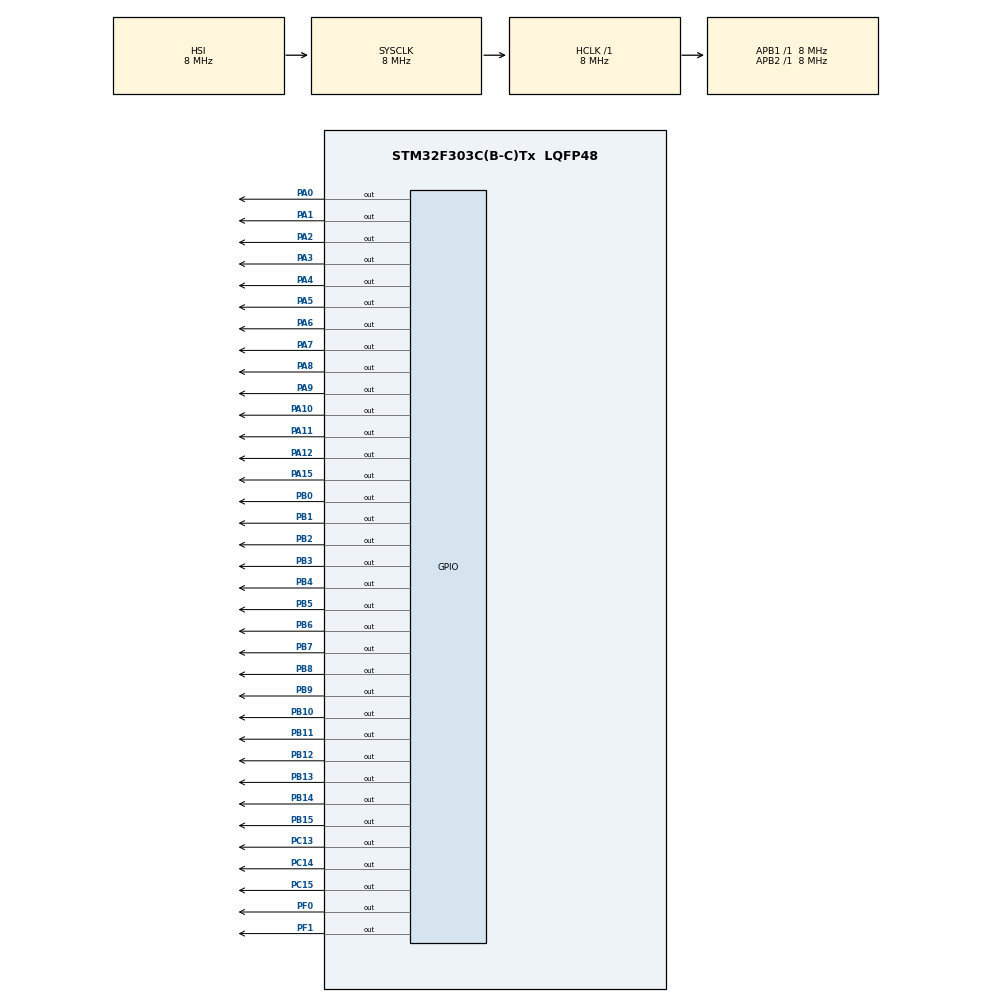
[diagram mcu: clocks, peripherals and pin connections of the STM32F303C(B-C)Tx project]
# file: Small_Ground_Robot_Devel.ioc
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Mcu.Family=STM32F3
Mcu.Name=STM32F303C(B-C)Tx
Mcu.Package=LQFP48
NVIC.PriorityGroup=NVIC_PRIORITYGROUP_4
PA0.Signal=GPIO_Output
PA1.Signal=GPIO_Output
PA10.Signal=GPIO_Output
PA11.Signal=GPIO_Output
PA12.Signal=GPIO_Output
PA13.Mode=Serial_Wire
PA13.Signal=SYS_JTMS-SWDIO
PA14.Mode=Serial_Wire
PA14.Signal=SYS_JTCK-SWCLK
PA15.Signal=GPIO_Output
PA2.Signal=GPIO_Output
PA3.Signal=GPIO_Output
PA4.Signal=GPIO_Output
PA5.Signal=GPIO_Output
PA6.Signal=GPIO_Output
PA7.Signal=GPIO_Output
PA8.Signal=GPIO_Output
PA9.Signal=GPIO_Output
PB0.Signal=GPIO_Output
PB1.Signal=GPIO_Output
PB10.Signal=GPIO_Output
PB11.Signal=GPIO_Output
PB12.Signal=GPIO_Output
PB13.Signal=GPIO_Output
PB14.Signal=GPIO_Output
PB15.Signal=GPIO_Output
PB2.Signal=GPIO_Output
PB3.Signal=GPIO_Output
PB4.Signal=GPIO_Output
PB5.Signal=GPIO_Output
PB6.Signal=GPIO_Output
PB7.Signal=GPIO_Output
PB8.Signal=GPIO_Output
PB9.Signal=GPIO_Output
PC13.Signal=GPIO_Output
PC14-OSC32_IN.Signal=GPIO_Output
PC15-OSC32_OUT.Signal=GPIO_Output
PF0-OSC_IN.Signal=GPIO_Output
PF1-OSC_OUT.Signal=GPIO_Output
ProjectManager.HeapSize=0x200
ProjectManager.StackSize=0x400
ProjectManager.TargetToolchain=MDK-ARM V5
RCC.AHBFreq_Value=8000000
RCC.APB1Freq_Value=8000000
RCC.APB2Freq_Value=8000000
RCC.CortexFreq_Value=8000000
RCC.HSE_VALUE=8000000
RCC.HSI_VALUE=8000000
RCC.LSE_VALUE=32768
RCC.SYSCLKFreq_VALUE=8000000
board=Small_Ground_Robot_Devel

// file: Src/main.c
/**
  ******************************************************************************
  * @file           : main.c
  * @brief          : Main program body
  ******************************************************************************
  ** This notice applies to any and all portions of this file
  * that are not between comment pairs USER CODE BEGIN and
  * USER CODE END. Other portions of this file, whether
  * inserted by the user or by software development tools
  * are owned by their respective copyright owners.
  *
  * COPYRIGHT(c) 2018 STMicroelectronics
  *
  * Redistribution and use in source and binary forms, with or without modification,
  * are permitted provided that the following conditions are met:
  *   1. Redistributions of source code must retain the above copyright notice,
  *      this list of conditions and the following disclaimer.
  *   2. Redistributions in binary form must reproduce the above copyright notice,
  *      this list of conditions and the following disclaimer in the documentation
  *      and/or other materials provided with the distribution.
  *   3. Neither the name of STMicroelectronics nor the names of its contributors
  *      may be used to endorse or promote products derived from this software
  *      without specific prior written permission.
  *
  * THIS SOFTWARE IS PROVIDED BY THE COPYRIGHT HOLDERS AND CONTRIBUTORS "AS IS"
  * AND ANY EXPRESS OR IMPLIED WARRANTIES, INCLUDING, BUT NOT LIMITED TO, THE
  * IMPLIED WARRANTIES OF MERCHANTABILITY AND FITNESS FOR A PARTICULAR PURPOSE ARE
  * DISCLAIMED. IN NO EVENT SHALL THE COPYRIGHT HOLDER OR CONTRIBUTORS BE LIABLE
  * FOR ANY DIRECT, INDIRECT, INCIDENTAL, SPECIAL, EXEMPLARY, OR CONSEQUENTIAL
  * DAMAGES (INCLUDING, BUT NOT LIMITED TO, PROCUREMENT OF SUBSTITUTE GOODS OR
  * SERVICES; LOSS OF USE, DATA, OR PROFITS; OR BUSINESS INTERRUPTION) HOWEVER
  * CAUSED AND ON ANY THEORY OF LIABILITY, WHETHER IN CONTRACT, STRICT LIABILITY,
  * OR TORT (INCLUDING NEGLIGENCE OR OTHERWISE) ARISING IN ANY WAY OUT OF THE USE
  * OF THIS SOFTWARE, EVEN IF ADVISED OF THE POSSIBILITY OF SUCH DAMAGE.
  *
  ******************************************************************************
  */
#include "main.h"
#include "stm32f3xx_hal.h"

/* USER CODE BEGIN PV */
/* Private variables ---------------------------------------------------------*/

/* USER CODE END PV */

void SystemClock_Config(void);
static void MX_GPIO_Init(void);

/* USER CODE BEGIN PFP */
/* Private function prototypes -----------------------------------------------*/

/* USER CODE END PFP */

int main(void)
{

  /* MCU Configuration----------------------------------------------------------*/

  /* Reset of all peripherals, Initializes the Flash interface and the Systick. */
  HAL_Init();

  /* Configure the system clock */
  SystemClock_Config();

  /* Initialize all configured peripherals */
  MX_GPIO_Init();

  /* Infinite loop */
  /* USER CODE BEGIN WHILE */
  while (1)
  {
	HAL_Delay(800);
		HAL_GPIO_TogglePin(GPIOA, GPIO_PIN_0);
	HAL_GPIO_TogglePin(GPIOA, GPIO_PIN_1);
	HAL_GPIO_TogglePin(GPIOA, GPIO_PIN_2);
	HAL_GPIO_TogglePin(GPIOA, GPIO_PIN_3);
	HAL_GPIO_TogglePin(GPIOA, GPIO_PIN_4);
	HAL_GPIO_TogglePin(GPIOA, GPIO_PIN_5);
	HAL_GPIO_TogglePin(GPIOA, GPIO_PIN_6);
	HAL_GPIO_TogglePin(GPIOA, GPIO_PIN_8);
	HAL_GPIO_TogglePin(GPIOA, GPIO_PIN_9);
	HAL_GPIO_TogglePin(GPIOA, GPIO_PIN_10);
	HAL_GPIO_TogglePin(GPIOA, GPIO_PIN_11);
	HAL_GPIO_TogglePin(GPIOA, GPIO_PIN_12);
	HAL_GPIO_TogglePin(GPIOA, GPIO_PIN_15);

	HAL_GPIO_TogglePin(GPIOB, GPIO_PIN_0);
	HAL_GPIO_TogglePin(GPIOB, GPIO_PIN_1);
	HAL_GPIO_TogglePin(GPIOB, GPIO_PIN_2);
	HAL_GPIO_TogglePin(GPIOB, GPIO_PIN_3);
	HAL_GPIO_TogglePin(GPIOB, GPIO_PIN_4);
	HAL_GPIO_TogglePin(GPIOB, GPIO_PIN_5);
	HAL_GPIO_TogglePin(GPIOB, GPIO_PIN_6);
	HAL_GPIO_TogglePin(GPIOB, GPIO_PIN_8);
	HAL_GPIO_TogglePin(GPIOB, GPIO_PIN_9);
	HAL_GPIO_TogglePin(GPIOB, GPIO_PIN_10);
	HAL_GPIO_TogglePin(GPIOB, GPIO_PIN_11);

	HAL_GPIO_TogglePin(GPIOC, GPIO_PIN_13);
	HAL_GPIO_TogglePin(GPIOC, GPIO_PIN_14);
	HAL_GPIO_TogglePin(GPIOC, GPIO_PIN_15);

	HAL_GPIO_TogglePin(GPIOF, GPIO_PIN_0);
	HAL_GPIO_TogglePin(GPIOF, GPIO_PIN_1);

  /* USER CODE END WHILE */

  }

}

void SystemClock_Config(void)
{

  RCC_OscInitTypeDef RCC_OscInitStruct;
  RCC_ClkInitTypeDef RCC_ClkInitStruct;

    /**Initializes the CPU, AHB and APB busses clocks
    */
  RCC_OscInitStruct.OscillatorType = RCC_OSCILLATORTYPE_HSI;
  RCC_OscInitStruct.HSIState = RCC_HSI_ON;
  RCC_OscInitStruct.HSICalibrationValue = 16;
  RCC_OscInitStruct.PLL.PLLState = RCC_PLL_NONE;
  if (HAL_RCC_OscConfig(&RCC_OscInitStruct) != HAL_OK)
  {
    _Error_Handler(__FILE__, __LINE__);
  }

    /**Initializes the CPU, AHB and APB busses clocks
    */
  RCC_ClkInitStruct.ClockType = RCC_CLOCKTYPE_HCLK|RCC_CLOCKTYPE_SYSCLK
                              |RCC_CLOCKTYPE_PCLK1|RCC_CLOCKTYPE_PCLK2;
  RCC_ClkInitStruct.SYSCLKSource = RCC_SYSCLKSOURCE_HSI;
  RCC_ClkInitStruct.AHBCLKDivider = RCC_SYSCLK_DIV1;
  RCC_ClkInitStruct.APB1CLKDivider = RCC_HCLK_DIV1;
  RCC_ClkInitStruct.APB2CLKDivider = RCC_HCLK_DIV1;

  if (HAL_RCC_ClockConfig(&RCC_ClkInitStruct, FLASH_LATENCY_0) != HAL_OK)
  {
    _Error_Handler(__FILE__, __LINE__);
  }

    /**Configure the Systick interrupt time
    */
  HAL_SYSTICK_Config(HAL_RCC_GetHCLKFreq()/1000);

    /**Configure the Systick
    */
  HAL_SYSTICK_CLKSourceConfig(SYSTICK_CLKSOURCE_HCLK);

  /* SysTick_IRQn interrupt configuration */
  HAL_NVIC_SetPriority(SysTick_IRQn, 0, 0);
}

/** Configure pins as
        * Analog
        * Input
        * Output
        * EVENT_OUT
        * EXTI
*/
static void MX_GPIO_Init(void)
{

  GPIO_InitTypeDef GPIO_InitStruct;

  /* GPIO Ports Clock Enable */
  __HAL_RCC_GPIOC_CLK_ENABLE();
  __HAL_RCC_GPIOF_CLK_ENABLE();
  __HAL_RCC_GPIOA_CLK_ENABLE();
  __HAL_RCC_GPIOB_CLK_ENABLE();

  /*Configure GPIO pin Output Level */
  HAL_GPIO_WritePin(GPIOC, GPIO_PIN_13|GPIO_PIN_14|GPIO_PIN_15, GPIO_PIN_RESET);

  /*Configure GPIO pin Output Level */
  HAL_GPIO_WritePin(GPIOF, GPIO_PIN_0|GPIO_PIN_1, GPIO_PIN_RESET);

  /*Configure GPIO pin Output Level */
  HAL_GPIO_WritePin(GPIOA, GPIO_PIN_0|GPIO_PIN_1|GPIO_PIN_2|GPIO_PIN_3
                          |GPIO_PIN_4|GPIO_PIN_5|GPIO_PIN_6|GPIO_PIN_7
                          |GPIO_PIN_8|GPIO_PIN_9|GPIO_PIN_10|GPIO_PIN_11
                          |GPIO_PIN_12|GPIO_PIN_15, GPIO_PIN_RESET);

  /*Configure GPIO pin Output Level */
  HAL_GPIO_WritePin(GPIOB, GPIO_PIN_0|GPIO_PIN_1|GPIO_PIN_2|GPIO_PIN_10
                          |GPIO_PIN_11|GPIO_PIN_12|GPIO_PIN_13|GPIO_PIN_14
                          |GPIO_PIN_15|GPIO_PIN_3|GPIO_PIN_4|GPIO_PIN_5
                          |GPIO_PIN_6|GPIO_PIN_7|GPIO_PIN_8|GPIO_PIN_9, GPIO_PIN_RESET);

  /*Configure GPIO pins : PC13 PC14 PC15 */
  GPIO_InitStruct.Pin = GPIO_PIN_13|GPIO_PIN_14|GPIO_PIN_15;
  GPIO_InitStruct.Mode = GPIO_MODE_OUTPUT_PP;
  GPIO_InitStruct.Pull = GPIO_NOPULL;
  GPIO_InitStruct.Speed = GPIO_SPEED_FREQ_LOW;
  HAL_GPIO_Init(GPIOC, &GPIO_InitStruct);

  /*Configure GPIO pins : PF0 PF1 */
  GPIO_InitStruct.Pin = GPIO_PIN_0|GPIO_PIN_1;
  GPIO_InitStruct.Mode = GPIO_MODE_OUTPUT_PP;
  GPIO_InitStruct.Pull = GPIO_NOPULL;
  GPIO_InitStruct.Speed = GPIO_SPEED_FREQ_LOW;
  HAL_GPIO_Init(GPIOF, &GPIO_InitStruct);

  /*Configure GPIO pins : PA0 PA1 PA2 PA3
                           PA4 PA5 PA6 PA7
                           PA8 PA9 PA10 PA11
                           PA12 PA15 */
  GPIO_InitStruct.Pin = GPIO_PIN_0|GPIO_PIN_1|GPIO_PIN_2|GPIO_PIN_3
                          |GPIO_PIN_4|GPIO_PIN_5|GPIO_PIN_6|GPIO_PIN_7
                          |GPIO_PIN_8|GPIO_PIN_9|GPIO_PIN_10|GPIO_PIN_11
                          |GPIO_PIN_12|GPIO_PIN_15;
  GPIO_InitStruct.Mode = GPIO_MODE_OUTPUT_PP;
  GPIO_InitStruct.Pull = GPIO_NOPULL;
  GPIO_InitStruct.Speed = GPIO_SPEED_FREQ_LOW;
  HAL_GPIO_Init(GPIOA, &GPIO_InitStruct);

  /*Configure GPIO pins : PB0 PB1 PB2 PB10
                           PB11 PB12 PB13 PB14
                           PB15 PB3 PB4 PB5
                           PB6 PB7 PB8 PB9 */
  GPIO_InitStruct.Pin = GPIO_PIN_0|GPIO_PIN_1|GPIO_PIN_2|GPIO_PIN_10
                          |GPIO_PIN_11|GPIO_PIN_12|GPIO_PIN_13|GPIO_PIN_14
                          |GPIO_PIN_15|GPIO_PIN_3|GPIO_PIN_4|GPIO_PIN_5
                          |GPIO_PIN_6|GPIO_PIN_7|GPIO_PIN_8|GPIO_PIN_9;
  GPIO_InitStruct.Mode = GPIO_MODE_OUTPUT_PP;
  GPIO_InitStruct.Pull = GPIO_NOPULL;
  GPIO_InitStruct.Speed = GPIO_SPEED_FREQ_LOW;
  HAL_GPIO_Init(GPIOB, &GPIO_InitStruct);

}

void _Error_Handler(char *file, int line)
{
  while(1)
  {
  }
}

/************************ (C) COPYRIGHT STMicroelectronics *****END OF FILE****/
